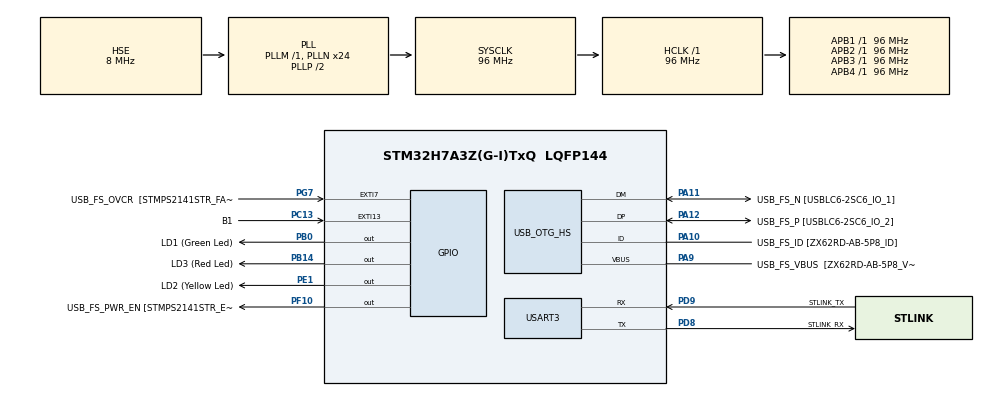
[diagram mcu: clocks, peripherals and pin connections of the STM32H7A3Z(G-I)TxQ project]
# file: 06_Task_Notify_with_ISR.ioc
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Mcu.Family=STM32H7
Mcu.Name=STM32H7A3Z(G-I)TxQ
Mcu.Package=LQFP144
NVIC.EXTI15_10_IRQn=true\:6\:0\:true\:false\:true\:true\:true\:true
NVIC.PriorityGroup=NVIC_PRIORITYGROUP_4
NVIC.TIM6_DAC_IRQn=true\:15\:0\:false\:false\:true\:false\:true\:true
NVIC.TimeBase=TIM6_DAC_IRQn
NVIC.TimeBaseIP=TIM6
PA10.GPIO_Label=USB_FS_ID [ZX62RD-AB-5P8_ID]
PA10.Mode=OTG/Dual-Role-Device-FS
PA10.Signal=USB_OTG_HS_ID
PA11.GPIO_Label=USB_FS_N [USBLC6-2SC6_IO_1]
PA11.Mode=OTG/Dual-Role-Device-FS
PA11.Signal=USB_OTG_HS_DM
PA12.GPIO_Label=USB_FS_P [USBLC6-2SC6_IO_2]
PA12.Mode=OTG/Dual-Role-Device-FS
PA12.Signal=USB_OTG_HS_DP
PA9.GPIO_Label=USB_FS_VBUS  [ZX62RD-AB-5P8_VBUS]
PA9.Mode=Activate_VBUS_FS
PA9.Signal=USB_OTG_HS_VBUS
PB0.GPIO_Label=LD1 (Green Led)
PB0.Signal=GPIO_Output
PB14.GPIO_Label=LD3 (Red Led)
PB14.Signal=GPIO_Output
PC13.GPIO_Label=B1
PC13.GPIO_ModeDefaultEXTI=GPIO_MODE_IT_RISING
PC13.Signal=GPXTI13
PC14-OSC32_IN.GPIO_Label=OSC32_IN
PC14-OSC32_IN.Mode=LSE-External-Oscillator
PC14-OSC32_IN.Signal=RCC_OSC32_IN
PC15-OSC32_OUT.GPIO_Label=OSC32_OUT
PC15-OSC32_OUT.Mode=LSE-External-Oscillator
PC15-OSC32_OUT.Signal=RCC_OSC32_OUT
PD8.GPIO_Label=STLINK_RX
PD8.Mode=Asynchronous
PD8.Signal=USART3_TX
PD9.GPIO_Label=STLINK_TX
PD9.Mode=Asynchronous
PD9.Signal=USART3_RX
PE1.GPIO_Label=LD2 (Yellow Led)
PE1.Signal=GPIO_Output
PF10.GPIO_Label=USB_FS_PWR_EN [STMPS2141STR_EN]
PF10.Signal=GPIO_Output
PG7.GPIO_Label=USB_FS_OVCR  [STMPS2141STR_FAULT]
PG7.Signal=GPXTI7
PH0-OSC_IN.GPIO_Label=PH0-MCU
PH0-OSC_IN.Mode=HSE-External-Clock-Source
PH0-OSC_IN.Signal=RCC_OSC_IN
PH1-OSC_OUT.GPIO_Label=PH1-MCU
PH1-OSC_OUT.Signal=RCC_OSC_OUT
ProjectManager.HeapSize=0x200
ProjectManager.StackSize=0x400
ProjectManager.TargetToolchain=STM32CubeIDE
RCC.ADCFreq_Value=16125000
RCC.APB1Freq_Value=96000000
RCC.APB2Freq_Value=96000000
RCC.APB3Freq_Value=96000000
RCC.APB4Freq_Value=96000000
RCC.CortexFreq_Value=96000000
RCC.DIVM1=1
RCC.DIVM3=1
RCC.DIVN1=24
RCC.DIVN3=24
RCC.DIVQ1=4
RCC.HCLKFreq_Value=96000000
RCC.HSE_VALUE=8000000
RCC.PLLFRACN=0
RCC.PLLSourceVirtual=RCC_PLLSOURCE_HSE
RCC.PWR_Regulator_Voltage_Scale=PWR_REGULATOR_VOLTAGE_SCALE0
RCC.SYSCLKFreq_VALUE=96000000
RCC.SYSCLKSource=RCC_SYSCLKSOURCE_PLLCLK
RCC.SupplySource=PWR_DIRECT_SMPS_SUPPLY
RCC.USBCLockSelection=RCC_USBCLKSOURCE_HSI48
RCC.USBFreq_Value=48000000
USART3.VirtualMode-Asynchronous=VM_ASYNC
VP_SYS_VS_tim6.Mode=TIM6
board=NUCLEO-H7A3ZI-Q

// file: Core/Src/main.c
/* USER CODE BEGIN Header */
/**
  ******************************************************************************
  * @file           : main.c
  * @brief          : Main program body
  ******************************************************************************
  * @attention
  *
  * Copyright (c) 2023 STMicroelectronics.
  * All rights reserved.
  *
  * This software is licensed under terms that can be found in the LICENSE file
  * in the root directory of this software component.
  * If no LICENSE file comes with this software, it is provided AS-IS.
  *
  ******************************************************************************
  */
/* USER CODE END Header */
#include "main.h"

/* USER CODE BEGIN Includes */
#include "FreeRTOS.h"
#include "task.h"

/* USER CODE END Includes */

/* USER CODE BEGIN PM */
#define pdMS_TO_TICKS(x) p(x)
/* USER CODE END PM */

UART_HandleTypeDef huart3;

/* USER CODE BEGIN PV */

TaskHandle_t next_handler = NULL;

TaskHandle_t led1_handler;
TaskHandle_t led2_handler;
TaskHandle_t user_button_handler;
TaskHandle_t led3_handler;

/* USER CODE END PV */

void SystemClock_Config(void);
static void MX_GPIO_Init(void);
static void MX_USART3_UART_Init(void);
static void MX_USB_OTG_HS_USB_Init(void);
/* USER CODE BEGIN PFP */

void HAL_GPIO_EXTI_Callback(uint16_t GPIO_Pin);
void button_interrupt_handler(void);

//static void button_task(void* parameters);
static void led1_task(void*);
static void led2_task(void*);
static void led3_task(void*);

/* USER CODE END PFP */

/* USER CODE BEGIN 0 */
void vApplicationIdleHook(void){

	HAL_PWR_EnterSLEEPMode(PWR_MAINREGULATOR_ON, PWR_SLEEPENTRY_WFI);

	return;
}
/* USER CODE END 0 */

int main(void)
{

  /* MCU Configuration--------------------------------------------------------*/

  /* Reset of all peripherals, Initializes the Flash interface and the Systick. */
  HAL_Init();

  /* Configure the system clock */
  SystemClock_Config();

  /* Initialize all configured peripherals */
  MX_GPIO_Init();
  MX_USART3_UART_Init();
  MX_USB_OTG_HS_USB_Init();
  /* USER CODE BEGIN 2 */

  BaseType_t status;
//  status = xTaskCreate(button_task, "Button task", 1000, NULL, 2, &user_button_handler);
//
//  configASSERT(status == pdPASS);

  next_handler = led1_handler;

  status = xTaskCreate(led1_task, "Task-1", 1000, NULL, 2, &led1_handler);

  configASSERT(status == pdPASS);

  next_handler = led1_handler;
  status = xTaskCreate(led2_task, "Task-1", 1000, NULL, 2, &led2_handler);

  configASSERT(status == pdPASS);

  status = xTaskCreate(led3_task, "Task-1", 1000, NULL, 2, &led3_handler);

  configASSERT(status == pdPASS);

  vTaskStartScheduler();

  /* USER CODE END 2 */

  /* Infinite loop */
  while (1)
  {

  }
}

void SystemClock_Config(void)
{
  RCC_OscInitTypeDef RCC_OscInitStruct = {0};
  RCC_ClkInitTypeDef RCC_ClkInitStruct = {0};

  /*AXI clock gating */
  RCC->CKGAENR = 0xFFFFFFFF;

  /** Supply configuration update enable
  */
  HAL_PWREx_ConfigSupply(PWR_DIRECT_SMPS_SUPPLY);

  /** Configure the main internal regulator output voltage
  */
  __HAL_PWR_VOLTAGESCALING_CONFIG(PWR_REGULATOR_VOLTAGE_SCALE0);

  while(!__HAL_PWR_GET_FLAG(PWR_FLAG_VOSRDY)) {}

  /** Initializes the RCC Oscillators according to the specified parameters
  * in the RCC_OscInitTypeDef structure.
  */
  RCC_OscInitStruct.OscillatorType = RCC_OSCILLATORTYPE_HSI48|RCC_OSCILLATORTYPE_HSE;
  RCC_OscInitStruct.HSEState = RCC_HSE_BYPASS;
  RCC_OscInitStruct.HSI48State = RCC_HSI48_ON;
  RCC_OscInitStruct.PLL.PLLState = RCC_PLL_ON;
  RCC_OscInitStruct.PLL.PLLSource = RCC_PLLSOURCE_HSE;
  RCC_OscInitStruct.PLL.PLLM = 1;
  RCC_OscInitStruct.PLL.PLLN = 24;
  RCC_OscInitStruct.PLL.PLLP = 2;
  RCC_OscInitStruct.PLL.PLLQ = 4;
  RCC_OscInitStruct.PLL.PLLR = 2;
  RCC_OscInitStruct.PLL.PLLRGE = RCC_PLL1VCIRANGE_3;
  RCC_OscInitStruct.PLL.PLLVCOSEL = RCC_PLL1VCOWIDE;
  RCC_OscInitStruct.PLL.PLLFRACN = 0;
  if (HAL_RCC_OscConfig(&RCC_OscInitStruct) != HAL_OK)
  {
    Error_Handler();
  }

  /** Initializes the CPU, AHB and APB buses clocks
  */
  RCC_ClkInitStruct.ClockType = RCC_CLOCKTYPE_HCLK|RCC_CLOCKTYPE_SYSCLK
                              |RCC_CLOCKTYPE_PCLK1|RCC_CLOCKTYPE_PCLK2
                              |RCC_CLOCKTYPE_D3PCLK1|RCC_CLOCKTYPE_D1PCLK1;
  RCC_ClkInitStruct.SYSCLKSource = RCC_SYSCLKSOURCE_PLLCLK;
  RCC_ClkInitStruct.SYSCLKDivider = RCC_SYSCLK_DIV1;
  RCC_ClkInitStruct.AHBCLKDivider = RCC_HCLK_DIV1;
  RCC_ClkInitStruct.APB3CLKDivider = RCC_APB3_DIV1;
  RCC_ClkInitStruct.APB1CLKDivider = RCC_APB1_DIV1;
  RCC_ClkInitStruct.APB2CLKDivider = RCC_APB2_DIV1;
  RCC_ClkInitStruct.APB4CLKDivider = RCC_APB4_DIV1;

  if (HAL_RCC_ClockConfig(&RCC_ClkInitStruct, FLASH_LATENCY_2) != HAL_OK)
  {
    Error_Handler();
  }
}

static void MX_USART3_UART_Init(void)
{

  huart3.Instance = USART3;
  huart3.Init.BaudRate = 115200;
  huart3.Init.WordLength = UART_WORDLENGTH_8B;
  huart3.Init.StopBits = UART_STOPBITS_1;
  huart3.Init.Parity = UART_PARITY_NONE;
  huart3.Init.Mode = UART_MODE_TX_RX;
  huart3.Init.HwFlowCtl = UART_HWCONTROL_NONE;
  huart3.Init.OverSampling = UART_OVERSAMPLING_16;
  huart3.Init.OneBitSampling = UART_ONE_BIT_SAMPLE_DISABLE;
  huart3.Init.ClockPrescaler = UART_PRESCALER_DIV1;
  huart3.AdvancedInit.AdvFeatureInit = UART_ADVFEATURE_NO_INIT;
  if (HAL_UART_Init(&huart3) != HAL_OK)
  {
    Error_Handler();
  }
  if (HAL_UARTEx_SetTxFifoThreshold(&huart3, UART_TXFIFO_THRESHOLD_1_8) != HAL_OK)
  {
    Error_Handler();
  }
  if (HAL_UARTEx_SetRxFifoThreshold(&huart3, UART_RXFIFO_THRESHOLD_1_8) != HAL_OK)
  {
    Error_Handler();
  }
  if (HAL_UARTEx_DisableFifoMode(&huart3) != HAL_OK)
  {
    Error_Handler();
  }

}

static void MX_USB_OTG_HS_USB_Init(void)
{

}

static void MX_GPIO_Init(void)
{
  GPIO_InitTypeDef GPIO_InitStruct = {0};

  /* GPIO Ports Clock Enable */
  __HAL_RCC_GPIOC_CLK_ENABLE();
  __HAL_RCC_GPIOF_CLK_ENABLE();
  __HAL_RCC_GPIOH_CLK_ENABLE();
  __HAL_RCC_GPIOB_CLK_ENABLE();
  __HAL_RCC_GPIOD_CLK_ENABLE();
  __HAL_RCC_GPIOG_CLK_ENABLE();
  __HAL_RCC_GPIOA_CLK_ENABLE();
  __HAL_RCC_GPIOE_CLK_ENABLE();

  /*Configure GPIO pin Output Level */
  HAL_GPIO_WritePin(USB_FS_PWR_EN_GPIO_Port, USB_FS_PWR_EN_Pin, GPIO_PIN_RESET);

  /*Configure GPIO pin Output Level */
  HAL_GPIO_WritePin(GPIOB, LD1_Pin|LD3_Pin, GPIO_PIN_RESET);

  /*Configure GPIO pin Output Level */
  HAL_GPIO_WritePin(LD2_GPIO_Port, LD2_Pin, GPIO_PIN_RESET);

  /*Configure GPIO pin : B1_Pin */
  GPIO_InitStruct.Pin = B1_Pin;
  GPIO_InitStruct.Mode = GPIO_MODE_IT_RISING;
  GPIO_InitStruct.Pull = GPIO_NOPULL;
  HAL_GPIO_Init(B1_GPIO_Port, &GPIO_InitStruct);

  /*Configure GPIO pin : USB_FS_PWR_EN_Pin */
  GPIO_InitStruct.Pin = USB_FS_PWR_EN_Pin;
  GPIO_InitStruct.Mode = GPIO_MODE_OUTPUT_PP;
  GPIO_InitStruct.Pull = GPIO_NOPULL;
  GPIO_InitStruct.Speed = GPIO_SPEED_FREQ_LOW;
  HAL_GPIO_Init(USB_FS_PWR_EN_GPIO_Port, &GPIO_InitStruct);

  /*Configure GPIO pins : LD1_Pin LD3_Pin */
  GPIO_InitStruct.Pin = LD1_Pin|LD3_Pin;
  GPIO_InitStruct.Mode = GPIO_MODE_OUTPUT_PP;
  GPIO_InitStruct.Pull = GPIO_NOPULL;
  GPIO_InitStruct.Speed = GPIO_SPEED_FREQ_LOW;
  HAL_GPIO_Init(GPIOB, &GPIO_InitStruct);

  /*Configure GPIO pin : USB_FS_OVCR_Pin */
  GPIO_InitStruct.Pin = USB_FS_OVCR_Pin;
  GPIO_InitStruct.Mode = GPIO_MODE_IT_RISING;
  GPIO_InitStruct.Pull = GPIO_NOPULL;
  HAL_GPIO_Init(USB_FS_OVCR_GPIO_Port, &GPIO_InitStruct);

  /*Configure GPIO pin : USB_FS_VBUS_Pin */
  GPIO_InitStruct.Pin = USB_FS_VBUS_Pin;
  GPIO_InitStruct.Mode = GPIO_MODE_INPUT;
  GPIO_InitStruct.Pull = GPIO_NOPULL;
  HAL_GPIO_Init(USB_FS_VBUS_GPIO_Port, &GPIO_InitStruct);

  /*Configure GPIO pin : USB_FS_ID_Pin */
  GPIO_InitStruct.Pin = USB_FS_ID_Pin;
  GPIO_InitStruct.Mode = GPIO_MODE_AF_PP;
  GPIO_InitStruct.Pull = GPIO_NOPULL;
  GPIO_InitStruct.Speed = GPIO_SPEED_FREQ_LOW;
  GPIO_InitStruct.Alternate = GPIO_AF10_OTG1_HS;
  HAL_GPIO_Init(USB_FS_ID_GPIO_Port, &GPIO_InitStruct);

  /*Configure GPIO pins : USB_FS_N_Pin USB_FS_P_Pin */
  GPIO_InitStruct.Pin = USB_FS_N_Pin|USB_FS_P_Pin;
  GPIO_InitStruct.Mode = GPIO_MODE_AF_PP;
  GPIO_InitStruct.Pull = GPIO_NOPULL;
  GPIO_InitStruct.Speed = GPIO_SPEED_FREQ_LOW;
  HAL_GPIO_Init(GPIOA, &GPIO_InitStruct);

  /*Configure GPIO pin : LD2_Pin */
  GPIO_InitStruct.Pin = LD2_Pin;
  GPIO_InitStruct.Mode = GPIO_MODE_OUTPUT_PP;
  GPIO_InitStruct.Pull = GPIO_NOPULL;
  GPIO_InitStruct.Speed = GPIO_SPEED_FREQ_LOW;
  HAL_GPIO_Init(LD2_GPIO_Port, &GPIO_InitStruct);

  /* EXTI interrupt init*/
  HAL_NVIC_SetPriority(EXTI15_10_IRQn, 6, 0);
  HAL_NVIC_EnableIRQ(EXTI15_10_IRQn);

}

/* USER CODE BEGIN 4 */

//static void button_task(void * parameters){
//
//	uint8_t btn_read = 0;
//	uint8_t prev_state = 0;
//
//	TickType_t xLastWakeTime;
//	BaseType_t xWasDelayed;
//
//	xLastWakeTime = xTaskGetTickCount ();
//
//
//	while(1){
//
//	btn_read = HAL_GPIO_ReadPin(B1_GPIO_Port, B1_Pin);
//
//	if(btn_read){
//
//		if(! prev_state){
//			xTaskNotify(next_handler,0,eNoAction);
//		}
//	}
//	prev_state = btn_read;
//	vTaskDelayUntil(&xLastWakeTime,pdMS_TO_TICKS(10));
//	}
//}

static void led1_task(void* parameters){

//	TickType_t xLastWakeTime;
	BaseType_t xWasDelayed;

	BaseType_t status;
//	xLastWakeTime = xTaskGetTickCount ();

	while(1){

	HAL_GPIO_TogglePin(LD1_GPIO_Port, LD1_Pin);

	status = xTaskNotifyWait(0,0,NULL,pdMS_TO_TICKS(1000));

	if(status == pdTRUE){
		portENTER_CRITICAL();
		next_handler = led2_handler;
//		xTaskResumeAll();
		HAL_GPIO_WritePin(LD1_GPIO_Port, LD1_Pin, GPIO_PIN_SET);
		portEXIT_CRITICAL();
		vTaskDelete(NULL);

	}
	}
}

static void led2_task(void* parameters){

//	TickType_t xLastWakeTime;
	BaseType_t xWasDelayed;

//	xLastWakeTime = xTaskGetTickCount ();
	BaseType_t status;

	while(1){

	HAL_GPIO_TogglePin(LD2_GPIO_Port, LD2_Pin);

	status = xTaskNotifyWait(0,0,NULL,pdMS_TO_TICKS(1000));
	if(status == pdTRUE){
		portENTER_CRITICAL();
		next_handler = led3_handler;
		HAL_GPIO_WritePin(LD2_GPIO_Port, LD2_Pin, GPIO_PIN_SET);
		portEXIT_CRITICAL();
		vTaskDelete(NULL);
		}

	}
}

static void led3_task(void* parameters){

//	TickType_t xLastWakeTime;x
	BaseType_t xWasDelayed;

//	xLastWakeTime = xTaskGetTickCount ();

	BaseType_t status;

		while(1){

		HAL_GPIO_TogglePin(LD3_GPIO_Port, LD3_Pin);

		status = xTaskNotifyWait(0,0,NULL,pdMS_TO_TICKS(1000));
		if(status == pdTRUE){
			portENTER_CRITICAL();
			next_handler = NULL;
			HAL_GPIO_WritePin(LD3_GPIO_Port, LD3_Pin, GPIO_PIN_SET);
			vTaskDelete(user_button_handler);
			portEXIT_CRITICAL();
			vTaskDelete(NULL);
	}

}

}

void button_interrupt_handler(void){

	BaseType_t pxHigherPriorityTaskWoken;

	pxHigherPriorityTaskWoken = pdFALSE;
	traceISR_ENTER();

	xTaskNotifyFromISR(next_handler,0,eNoAction,&pxHigherPriorityTaskWoken);

	/* Once the ISR exits, the below macfo makes highe rpirority task which got unblocked to resume on the VPU */
	portYIELD_FROM_ISR(pxHigherPriorityTaskWoken);

	traceISR_EXIT();
	return;
}

void HAL_GPIO_EXTI_Callback(uint16_t GPIO_Pin){

	button_interrupt_handler();

	return;
}

/* USER CODE END 4 */

void HAL_TIM_PeriodElapsedCallback(TIM_HandleTypeDef *htim)
{
  if (htim->Instance == TIM6) {
    HAL_IncTick();
  }
}

void Error_Handler(void)
{
  __disable_irq();
  while (1)
  {
  }
}
